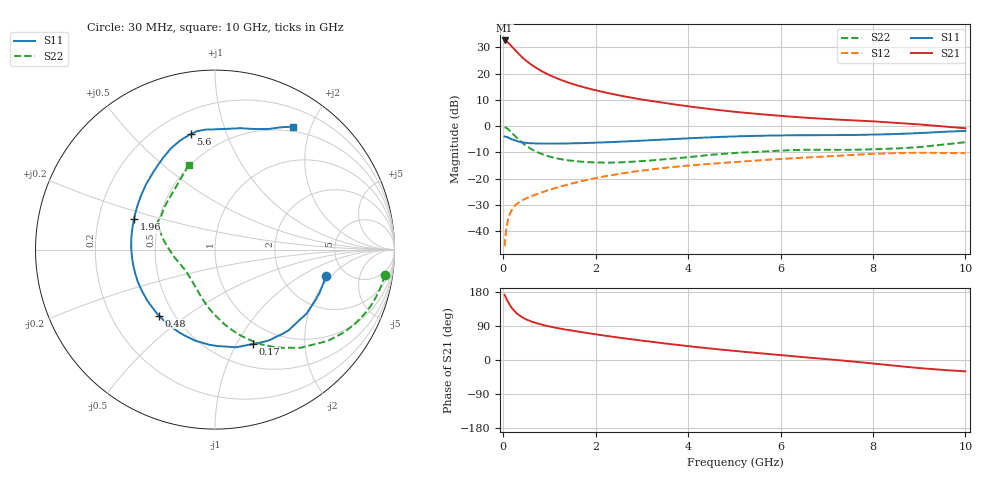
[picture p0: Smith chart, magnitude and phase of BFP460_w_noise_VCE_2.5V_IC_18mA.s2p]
! (c) 2016  Infineon Technologies AG, Munich
! Infineon Technologies  Discrete & RF Semiconductors
! BFP460
! VCE =  2.5 V,  IC =  18 mA
! Common Emitter S-Parameters:  Jan 2016
# GHz  S  MA  R  50
!  f  S11  S21  S12  S22
! GHz  MAG  ANG  MAG  ANG  MAG  ANG  MAG  ANG
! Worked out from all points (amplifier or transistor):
!   229 points, 30 MHz to 10 GHz, reference 50 ohm
!   highest |S21| = 32.6 dB at 30 MHz (marker M1)
!   |S21| within 3 dB of that: start of sweep to 223.6 MHz
!   unconditionally stable (mu >= 1): 1.886 GHz to 7.825 GHz
!   at 280 MHz: K = 0.39, MSG = 29.2 dB, |S12| = -29.8 dB
!   at 1.78 GHz: K = 0.99, MSG = 17.6 dB, |S12| = -20.6 dB
!   at 10 GHz: K = 0.98, MSG = 4.7 dB, |S12| = -10.3 dB
!   lowest NFmin = 1.13 dB at 900 MHz
!   S11 on the Smith chart (normalised r, x): 30 MHz: 3.56, -1.78; 170 MHz: 0.76, -1.17; 480 MHz: 0.41, -0.40; 1.96 GHz: 0.36, +0.16; 5.6 GHz: 0.33, +0.76; 10 GHz: 0.43, +1.74
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0.03  0.6366 -13.5  42.64 171.9  0.0052 85.1  0.9552 -8.5
0.07  0.6221 -31.3  41.05 160.9  0.0114 77.8  0.9234 -19.7
0.09  0.6128 -39.7  39.8 156.3  0.0146 73.1  0.8978 -25.0
0.14  0.5894 -58.6  36.29 145.6  0.021 66.6  0.8225 -37.0
0.17  0.5669 -68.0  33.92 140.4  0.024 63.1  0.7719 -42.8
0.2  0.5569 -77.7  31.84 135.1  0.0268 60.4  0.7267 -48.8
0.24  0.5378 -88.3  29.1 129.5  0.0298 57.4  0.6672 -55.1
0.3  0.5195 -102.2  25.52 122.3  0.0335 54.4  0.5899 -63.7
0.4  0.495 -119.7  20.81 113.4  0.0382 51.8  0.4903 -74.5
0.48  0.4821 -130.3  18.03 108.3  0.0415 51.2  0.4322 -81.1
0.6  0.4728 -142.9  14.89 101.9  0.0461 51.0  0.3685 -89.6
0.68  0.4679 -149.4  13.36 98.7  0.0491 51.2  0.338 -94.2
0.9  0.4643 -163.5  10.31 91.2  0.0575 52.3  0.2804 -105.0
1.24  0.4655 -178.7  7.624 82.7  0.071 53.4  0.2359 -117.6
1.7  0.4745 166.3  5.622 73.2  0.0901 53.1  0.2103 -130.5
1.96  0.4825 159.2  4.901 68.5  0.101 52.2  0.2042 -136.9
3.4  0.5492 129.2  2.829 45.2  0.1573 42.7  0.2299 -169.2
5.1  0.6415 106.6  1.839 22.8  0.2099 30.7  0.3118 164.2
5.6  0.657 101.9  1.676 17.3  0.2256 27.2  0.3279 159.7
6.8  0.6695 91.9  1.399 4.4  0.2595 18.8  0.3543 152.7
8.4  0.7033 73.0  1.171 -14.2  0.3059 4.8  0.3726 136.8
10  0.8108 57.6  0.91 -30.0  0.3059 -7.7  0.4943 107.0
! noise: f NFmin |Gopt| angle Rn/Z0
0.45  1.21  0.04  164  0.13
0.9  1.13  0.18  150  0.14
1.9  1.33  0.16  -152  0.12
3.5  1.29  0.41  -126  0.14
